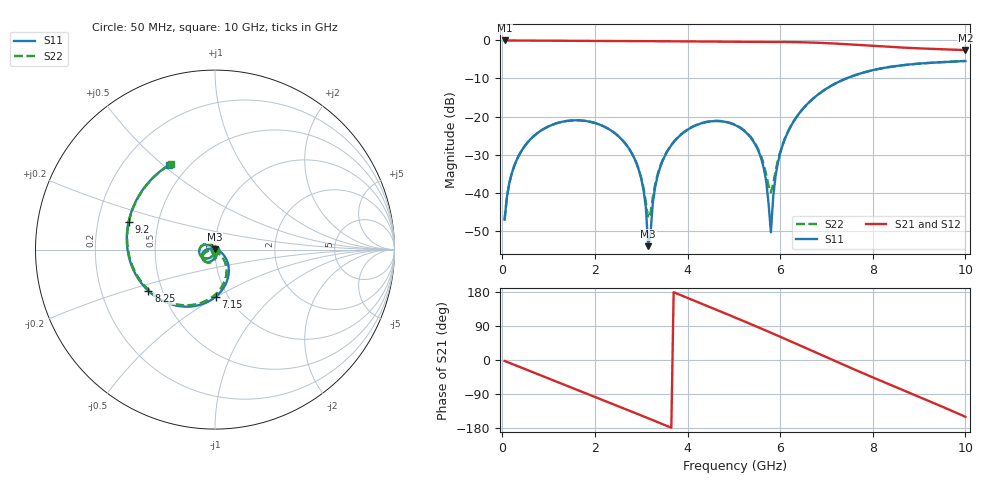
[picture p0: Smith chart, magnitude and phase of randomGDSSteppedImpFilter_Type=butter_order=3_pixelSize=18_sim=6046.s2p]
! freq	dB(S11)	phase(S11)	dB(S12)	phase(S12)
!  dB(S21)	phase(S21)	dB(S22)	phase(S22)
!S-par simulation data
#  GHz  S  DB  R 50
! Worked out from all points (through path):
!   200 points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, 50 MHz to 10 GHz, reference 50 ohm
!   highest |S21| = 0.00 dB at 50 MHz (marker M1); lowest = -2.5 dB at 10 GHz (marker M2)
!   group delay of S21, straight-line fit = 142 ps
!   lowest |S11| = -54.1 dB at 3.15 GHz (marker M3), VSWR 1.00, Z = 49.9 + j0.128 ohm
!   |S11| at or under -10 dB: start of sweep to 7.427 GHz
!   |S22| runs from -47.1 to -5.4 dB; largest |S21 - S12| = 0
!   S11 on the Smith chart (normalised r, x): 50 MHz: 1.00, -0.01; 7.15 GHz: 0.88, -0.50; 8.25 GHz: 0.42, -0.24; 9.2 GHz: 0.34, +0.14; 10 GHz: 0.39, +0.52
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0.05  -47.10 -91.5  -0.00 -2.5  -0.00 -2.5  -47.10 -91.5
0.2  -35.14 -99.3  -0.02 -9.8  -0.02 -9.8  -35.15 -99.4
0.5  -27.51 -114.2  -0.04 -24.4  -0.04 -24.4  -27.51 -114.5
1.75  -21.09 -175.8  -0.13 -85.0  -0.13 -85.0  -21.09 -177.0
2.8  -29.75 133.6  -0.17 -136.4  -0.17 -136.4  -29.72 126.3
3.05  -39.31 124.1  -0.18 -148.8  -0.18 -148.8  -38.82 99.4
3.15  -54.09 139.3  -0.19 -153.7  -0.19 -153.7  -46.71 46.9
3.3  -38.59 -76.3  -0.20 -161.2  -0.20 -161.2  -37.91 -50.7
3.4  -33.69 -79.5  -0.21 -166.2  -0.21 -166.2  -33.42 -63.9
4.05  -23.11 -110.0  -0.28 161.3  -0.28 161.3  -23.06 -103.9
5.05  -22.38 -160.5  -0.36 111.0  -0.36 111.0  -22.30 -152.7
5.6  -31.41 167.3  -0.37 82.6  -0.37 82.6  -30.84 -167.6
5.7  -37.14 156.5  -0.37 77.3  -0.37 77.3  -35.36 -157.2
5.8  -50.44 59.7  -0.37 72.1  -0.37 72.1  -39.93 -105.4
5.9  -35.69 -12.8  -0.38 66.8  -0.38 66.8  -34.48 -55.8
6.05  -27.64 -26.6  -0.39 58.8  -0.39 58.8  -27.46 -45.3
6.7  -15.40 -64.5  -0.56 23.7  -0.56 23.7  -15.40 -69.7
7.15  -11.60 -89.3  -0.79 -0.7  -0.79 -0.7  -11.60 -92.9
8.25  -7.20 -148.1  -1.60 -58.8  -1.60 -58.8  -7.21 -150.4
8.35  -7.00 -153.4  -1.68 -64.0  -1.68 -64.0  -7.00 -155.6
9.2  -5.92 162.1  -2.19 -107.6  -2.19 -107.6  -5.92 160.2
10  -5.41 118.8  -2.53 -149.8  -2.53 -149.8  -5.40 117.0
